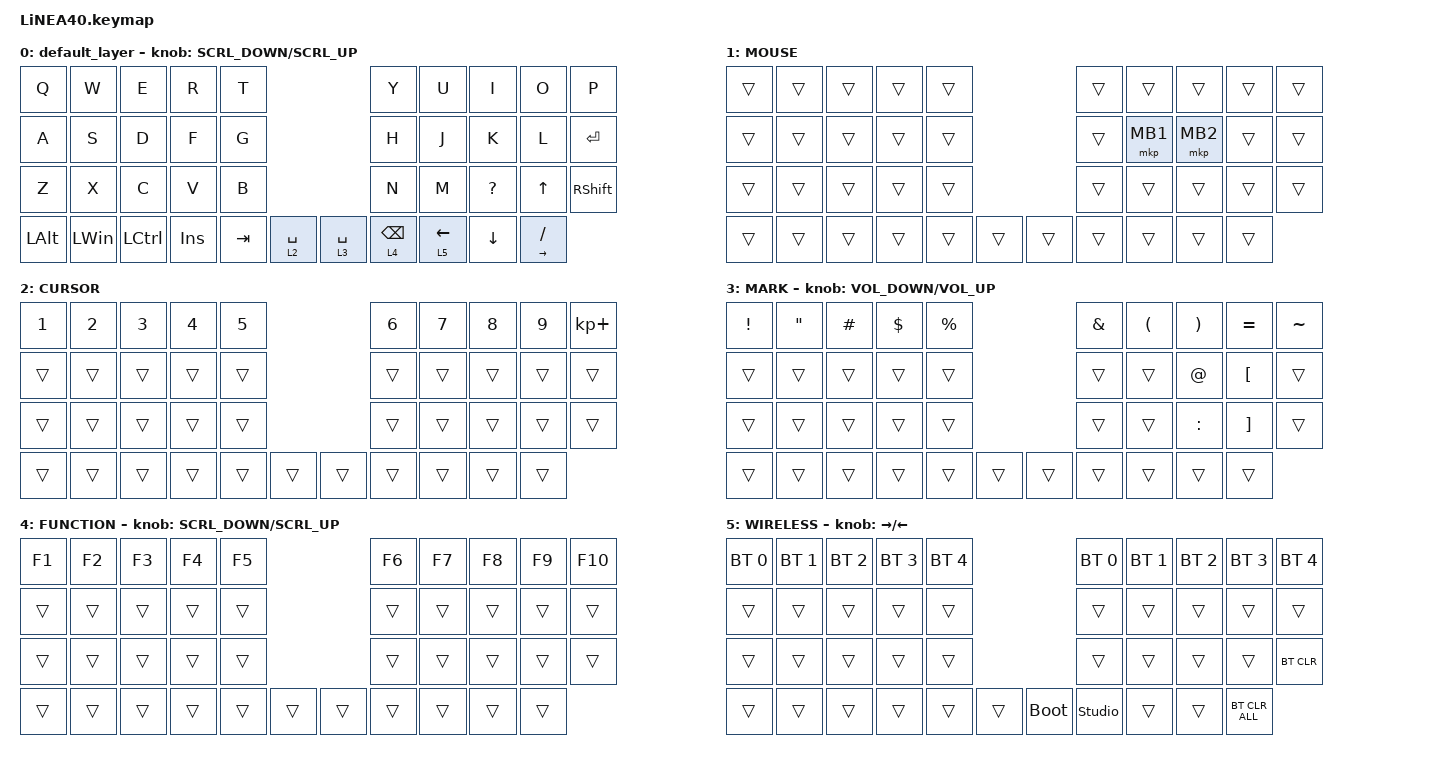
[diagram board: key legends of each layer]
#define ZMK_POINTING_DEFAULT_SCRL_VAL 150

#include <dt-bindings/zmk/input_transform.h>
#include <input/processors.dtsi>
#include <zephyr/dt-bindings/input/input-event-codes.h>
#include <behaviors.dtsi>
#include <dt-bindings/zmk/bt.h>
#include <dt-bindings/zmk/keys.h>
#include <dt-bindings/zmk/pointing.h>

#define MOUSE 1
#define MARK 2
#define CURSOR 3
#define FUNCTION 4
#define SCROLL 5
#define WIRELESS 6

//mouse cursol

&mmv {
    delay-ms = <20>;
    trigger-period-ms = <5>;
    time-to-max-speed-ms = <100>;
    acceleration-exponent = <2>;
};

//mouse scroll

&msc {
    delay-ms = <3>;
    trigger-period-ms = <3>;
    time-to-max-speed-ms = <100>;
    acceleration-exponent = <0>;
};

/ {
    input_processors {
        zip_wheel_scaler: zip_wheel_scaler {
            compatible = "zmk,input-processor-scaler";
            #input-processor-cells = <2>;
            type = <INPUT_EV_REL>;
            codes = <INPUT_REL_WHEEL>;
            track-remainders;
        };
    };
};

&msc_input_listener {
    speed_up {
        layers = <FUNCTION>;
        input-processors = <&zip_wheel_scaler 3 1>; //スクロールを3倍速にする
    };
};

&trackball_listener {
    scroller {
        layers = <SCROLL>;
        input-processors =
            <&zip_xy_transform INPUT_TRANSFORM_Y_INVERT>,
            //スクロール方向を逆転,,
            <&zip_xy_to_scroll_mapper>;
    };
};

/ {
    combos {
        compatible = "zmk,combos";

        ZenkakuHankaku {
            bindings = <&kp GRAVE>;
            key-positions = <1 0>;
        };

        DeleteKey {
            bindings = <&kp DEL>;
            key-positions = <7 8>;
        };

        InsertKey {
            bindings = <&kp INS>;
            key-positions = <6 7>;
        };

        CenterClick {
            bindings = <&mkp MB3>;
            key-positions = <17 16>;
        };

        RightClick {
            bindings = <&mkp MB2>;
            key-positions = <18 17>;
        };

        PrevClick {
            bindings = <&mkp MB4>;
            key-positions = <27 28>;
        };

        ClickNext {
            bindings = <&mkp MB5>;
            key-positions = <26 27>;
        };
    };

    behaviors {
        re_kp: sensor_rotate_kp {
            compatible = "zmk,behavior-sensor-rotate-var";
            #sensor-binding-cells = <2>;
            bindings = <&kp>, <&kp>;
        };

        mouse_scrl: mouse_wheel_scrl {
            compatible = "zmk,behavior-sensor-rotate-var";
            #sensor-binding-cells = <2>;
            bindings = <&msc>, <&msc>;

            tap-ms = <20>;
        };
    };

    keymap {
        compatible = "zmk,keymap";

        default_layer {
            bindings = <
&kp Q         &kp W         &kp E      &kp R    &kp T                                &kp Y            &kp U  &kp I         &kp O           &kp P
&kp A         &kp S         &kp D      &kp F    &kp G                                &kp H            &kp J  &kp K         &kp L           &kp ENTER
&kp Z         &kp X         &kp C      &kp V    &kp B                                &kp N            &kp M  &kp QUESTION  &kp UP_ARROW    &kp RIGHT_SHIFT
&kp LEFT_ALT  &kp LEFT_WIN  &kp LCTRL  &kp INS  &kp TAB  &lt 2 SPACE    &lt 3 SPACE  &lt 4 BACKSPACE         &lt 5 LEFT    &kp DOWN_ARROW  &mt RIGHT SLASH
            >;

            sensor-bindings = <&mouse_scrl SCRL_DOWN SCRL_UP>;
        };

        MOUSE {
            bindings = <
&trans  &trans  &trans  &trans  &trans                    &trans  &trans    &trans    &trans  &trans
&trans  &trans  &trans  &trans  &trans                    &trans  &mkp MB1  &mkp MB2  &trans  &trans
&trans  &trans  &trans  &trans  &trans                    &trans  &trans    &trans    &trans  &trans
&trans  &trans  &trans  &trans  &trans  &trans    &trans  &trans            &trans    &trans  &trans
            >;
        };

        CURSOR {
            bindings = <
&kp NUMBER_1  &kp NUMBER_2  &kp NUMBER_3  &kp NUMBER_4  &kp NUMBER_5                    &kp NUMBER_6  &kp NUMBER_7  &kp NUMBER_8  &kp NUMBER_9  &kp KP_PLUS
&trans        &trans        &trans        &trans        &trans                          &trans        &trans        &trans        &trans        &trans
&trans        &trans        &trans        &trans        &trans                          &trans        &trans        &trans        &trans        &trans
&trans        &trans        &trans        &trans        &trans        &trans    &trans  &trans                      &trans        &trans        &trans
            >;
        };

        MARK {
            bindings = <
&kp EXCLAMATION  &kp DOUBLE_QUOTES  &kp HASH  &kp DOLLAR  &kp PERCENT                    &kp AMPERSAND  &kp LEFT_PARENTHESIS  &kp RIGHT_PARENTHESIS  &kp EQUAL          &kp TILDE
&trans           &trans             &trans    &trans      &trans                         &trans         &trans                &kp AT_SIGN            &kp LEFT_BRACKET   &trans
&trans           &trans             &trans    &trans      &trans                         &trans         &trans                &kp COLON              &kp RIGHT_BRACKET  &trans
&trans           &trans             &trans    &trans      &trans       &trans    &trans  &trans                               &trans                 &trans             &trans
            >;

            sensor-bindings = <&re_kp C_VOLUME_DOWN C_VOLUME_UP>;
        };

        FUNCTION {
            bindings = <
&kp F1  &kp F2  &kp F3  &kp F4  &kp F5                    &kp F6  &kp F7  &kp F8  &kp F9  &kp F10
&trans  &trans  &trans  &trans  &trans                    &trans  &trans  &trans  &trans  &trans
&trans  &trans  &trans  &trans  &trans                    &trans  &trans  &trans  &trans  &trans
&trans  &trans  &trans  &trans  &trans  &trans    &trans  &trans          &trans  &trans  &trans
            >;

            sensor-bindings = <&mouse_scrl SCRL_DOWN SCRL_UP>;
        };

        WIRELESS {
            bindings = <
&bt BT_SEL 0  &bt BT_SEL 1  &bt BT_SEL 2  &bt BT_SEL 3  &bt BT_SEL 4                         &bt BT_SEL 0    &bt BT_SEL 1  &bt BT_SEL 2  &bt BT_SEL 3  &bt BT_SEL 4
&trans        &trans        &trans        &trans        &trans                               &trans          &trans        &trans        &trans        &trans
&trans        &trans        &trans        &trans        &trans                               &trans          &trans        &trans        &trans        &bt BT_CLR
&trans        &trans        &trans        &trans        &trans        &trans    &bootloader  &studio_unlock                &trans        &trans        &bt BT_CLR_ALL
            >;

            sensor-bindings = <&inc_dec_kp RIGHT_ARROW LEFT_ARROW>;
        };
    };
};
